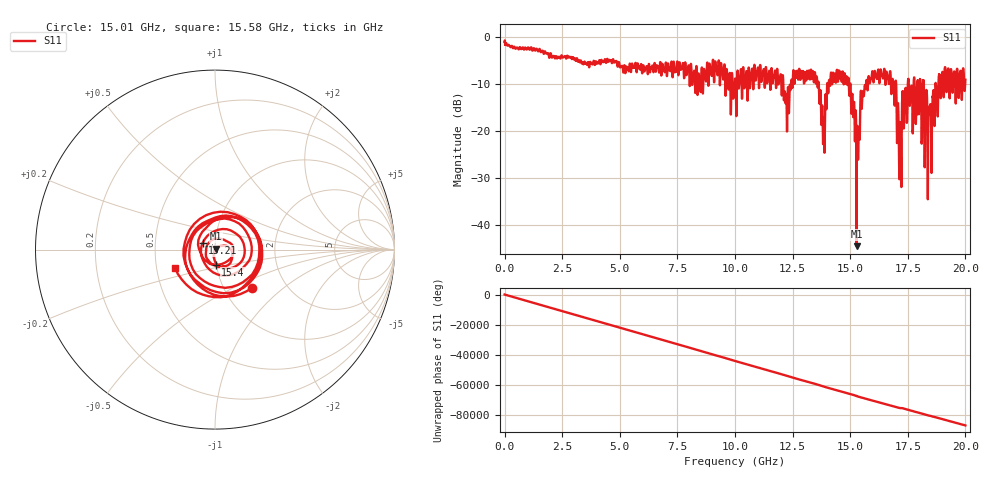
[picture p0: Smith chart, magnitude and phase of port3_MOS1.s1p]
! MS46122B
! 2250307/22442219
! 6/15/2025 8:15:03 AM
! C:\USERS\SPARKY\DOCUMENTS\VNA_DATA\JUNE15_2025\3.2K\PORT3_MOS1.S1P
! CHANNEL.1
! TR.MEASUREMENT
! RAW.DATA
# GHZ S RI R 50.0
! FREQ.GHZ  S11RE  S11IM
!; PortSelection: Port_1
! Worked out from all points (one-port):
!   10001 points, 1 MHz to 20 GHz, reference 50 ohm
!   lowest |S11| = -44.5 dB at 15.28 GHz (marker M1), VSWR 1.01, Z = 50.3 + j0.513 ohm
!   |S11| at or under -10 dB: 15.01 GHz to 15.68 GHz (676.2 MHz wide, 4.41 % of centre); 17 GHz to 17.5 GHz (505.5 MHz wide, 2.93 % of centre); 18.19 GHz to 18.7 GHz (509.3 MHz wide, 2.76 % of centre) (the widest 3 of 56)
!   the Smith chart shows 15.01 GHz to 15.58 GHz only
!   S11 on the Smith chart (normalised r, x): 15.01 GHz: 1.34, -0.63; 15.21 GHz: 0.87, +0.07; 15.4 GHz: 0.99, -0.17; 15.58 GHz: 0.62, -0.13
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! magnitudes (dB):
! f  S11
! 1 MHz  -1.0
! 2.501 GHz  -4.1
! 5.001 GHz  -6.3
! 7.501 GHz  -5.2
! 8.445 GHz  -8.4
! 9.221 GHz  -7.4
! 10 GHz  -9.0
! 11.66 GHz  -8.5
! 12.26 GHz  -18.9
! 12.5 GHz  -10.0
! 13.46 GHz  -7.5
! 13.82 GHz  -22.7
! 14.18 GHz  -7.6
! 15 GHz  -9.9
! 15.01 GHz  -10.5
! 15.21 GHz  -22.1
! 15.28 GHz  -44.5
! 15.4 GHz  -21.3
! 15.58 GHz  -12.2
! 16.66 GHz  -9.3
! 16.92 GHz  -13.5
! 17.13 GHz  -30.3
! 17.34 GHz  -17.2
! 17.5 GHz  -10.1
! 17.98 GHz  -15.9
! 18.45 GHz  -14.7
! 18.93 GHz  -12.7
! 20 GHz  -9.0
